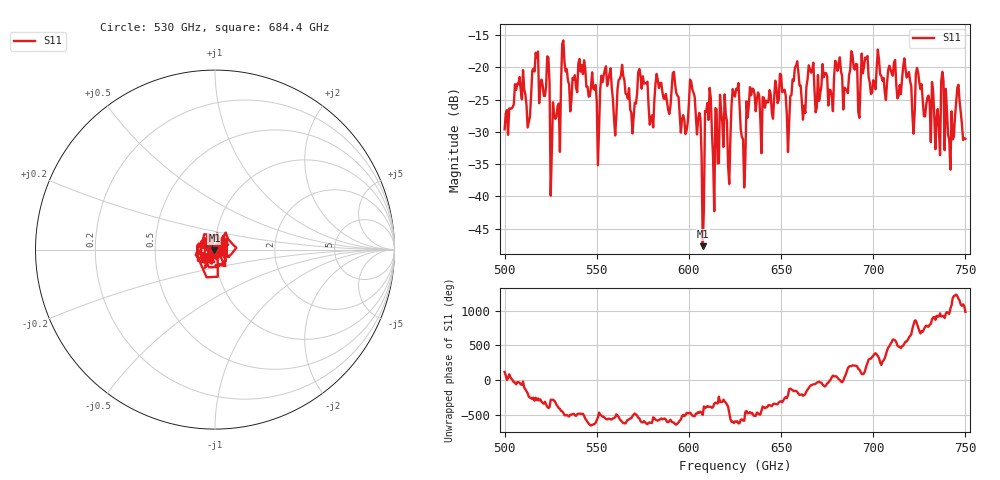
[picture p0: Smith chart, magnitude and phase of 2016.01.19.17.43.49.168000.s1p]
!Created with skrf (http://scikit-rf.org).
# GHz S RI R 50.0
!freq ReS11 ImS11
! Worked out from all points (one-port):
!   401 points, 500 GHz to 750 GHz, reference 50 ohm
!   lowest |S11| = -47.7 dB at 607.5 GHz (marker M1), VSWR 1.01, Z = 49.7 - j0.287 ohm
!   |S11| at or under -10 dB: start of sweep to end of sweep
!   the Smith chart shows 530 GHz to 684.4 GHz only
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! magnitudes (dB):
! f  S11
! 500 GHz  -29.6
! 506.9 GHz  -22.5
! 513.1 GHz  -28.5
! 516.9 GHz  -17.7
! 523.1 GHz  -18.3
! 526.2 GHz  -25.4
! 531.2 GHz  -16.4
! 550 GHz  -25.4
! 562.5 GHz  -21.8
! 569.4 GHz  -30.2
! 573.8 GHz  -21.3
! 579.4 GHz  -27.9
! 593.8 GHz  -24.4
! 601.9 GHz  -23.5
! 607.5 GHz  -47.7
! 610 GHz  -25.5
! 615 GHz  -26.5
! 625 GHz  -24.5
! 629.4 GHz  -31.1
! 634.4 GHz  -23.3
! 656.2 GHz  -21.9
! 687.5 GHz  -20.4
! 718.8 GHz  -21.3
! 735 GHz  -26.5
! 738.1 GHz  -22.1
! 741.9 GHz  -35.9
! 746.2 GHz  -22.7
! 750 GHz  -31.1
